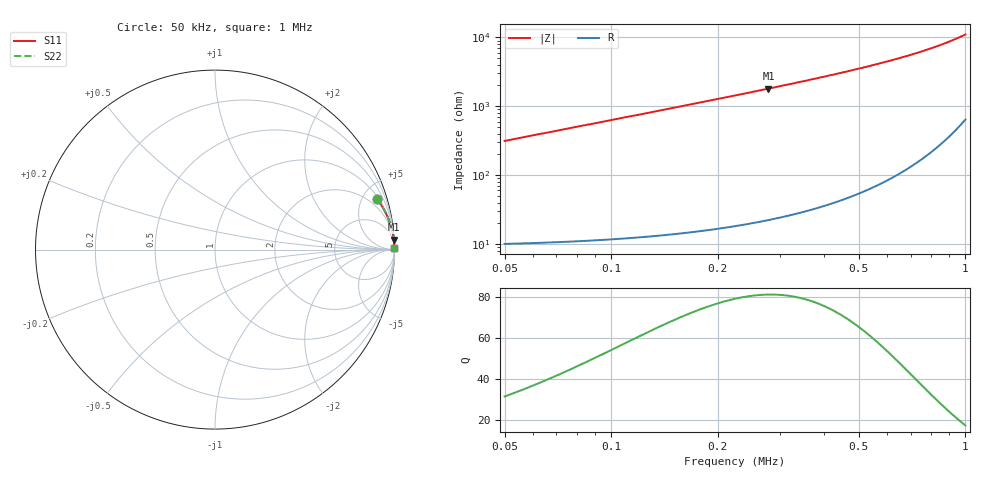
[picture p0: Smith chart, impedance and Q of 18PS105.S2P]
! Coilcraft 1812PS-105 Power Chip Inductor
! 1 October 2002
# MHZ S MA R 50
!Freq  MagS11  AngS11  MagS21  AngS21  MagS12  AngS12  MagS22  AngS22
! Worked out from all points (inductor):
!   476 points, 50 kHz to 1 MHz, reference 50 ohm
!   read as one part in series: L = 1 mH near 54 kHz
!   highest Q = 81 at 278 kHz (marker M1), where L = 1.03 mH
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0.05  0.9441 17.5  0.3009 -70.7  0.3009 -70.7  0.9441 17.5
0.054  0.9514 16.3  0.2808 -72.0  0.2808 -72.0  0.9514 16.3
0.064  0.9645 13.9  0.2401 -74.6  0.2401 -74.6  0.9645 13.9
0.072  0.9716 12.4  0.2149 -76.2  0.2149 -76.2  0.9716 12.4
0.08  0.9767 11.2  0.1943 -77.6  0.1943 -77.6  0.9767 11.2
0.096  0.9835 9.4  0.1629 -79.5  0.1629 -79.5  0.9835 9.4
0.114  0.9882 7.9  0.1376 -81.1  0.1376 -81.1  0.9882 7.9
0.134  0.9913 6.7  0.1172 -82.4  0.1172 -82.4  0.9913 6.7
0.158  0.9936 5.7  0.0993 -83.5  0.0993 -83.5  0.9936 5.7
0.182  0.9951 4.9  0.08603 -84.3  0.08603 -84.3  0.9951 4.9
0.21  0.9963 4.3  0.07428 -85.0  0.07428 -85.0  0.9963 4.3
0.242  0.9971 3.7  0.06411 -85.6  0.06411 -85.6  0.9971 3.7
0.278  0.9978 3.2  0.05538 -86.1  0.05538 -86.1  0.9978 3.2
0.32  0.9983 2.7  0.04759 -86.6  0.04759 -86.6  0.9983 2.7
0.368  0.9986 2.3  0.04078 -86.9  0.04078 -86.9  0.9986 2.3
0.44  0.999 1.9  0.03321 -87.3  0.03321 -87.3  0.999 1.9
0.526  0.9992 1.5  0.0267 -87.5  0.0267 -87.5  0.9992 1.5
0.596  0.9993 1.3  0.02266 -87.6  0.02266 -87.6  0.9993 1.3
0.684  0.9994 1.1  0.01861 -87.6  0.01861 -87.6  0.9994 1.1
0.842  0.9995 0.8  0.01315 -87.2  0.01315 -87.2  0.9995 0.8
0.916  0.9994 0.6  0.01111 -86.8  0.01111 -86.8  0.9994 0.6
1  0.9994 0.5  0.009076 -86.1  0.009076 -86.1  0.9994 0.5
